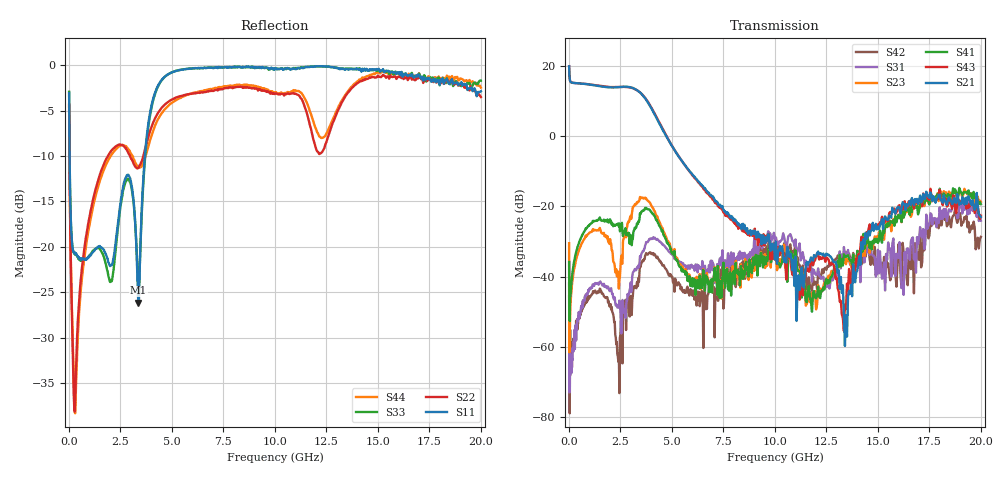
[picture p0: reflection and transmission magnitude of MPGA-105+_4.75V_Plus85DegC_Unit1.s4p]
!Mini-Circuits Laboratory
!S-Parameters
!Model: MPGA-105+
!Run / Lot / Date Code: NA / BP384P001-05 / 1348
!Fixture: NA; TB-561+
!AUTO PORT EXTENSION DONE: PORT<1>=113.35ps; PORT<2>=112.76ps; PORT<3>=112.16ps; PORT<4>=112.11ps
!Network Analyzer: PNA-X N5242A - 423 4 ports;  Serial number: 71256
!Date: 2/15/2014
!S/N: Unit# 1
!Correction: S11(Full 4 Port(1,2,3,4))
!S12(Full 4 Port(1,2,3,4))
!S13(Full 4 Port(1,2,3,4))
!S14(Full 4 Port(1,2,3,4))
!S21(Full 4 Port(1,2,3,4))
!S22(Full 4 Port(1,2,3,4))
!S23(Full 4 Port(1,2,3,4))
!S24(Full 4 Port(1,2,3,4))
!S31(Full 4 Port(1,2,3,4))
!S32(Full 4 Port(1,2,3,4))
!S33(Full 4 Port(1,2,3,4))
!S34(Full 4 Port(1,2,3,4))
!S41(Full 4 Port(1,2,3,4))
!S42(Full 4 Port(1,2,3,4))
!S43(Full 4 Port(1,2,3,4))
!S44(Full 4 Port(1,2,3,4))
!S4P File: Measurements: <S11,S12,S13,S14>,
!<S21,S22,S23,S24>,
!<S31,S32,S33,S34>,
!<S41,S42,S43,S44>:
# Hz S  dB  R 50
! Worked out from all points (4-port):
!   660 points, 10 MHz to 20 GHz, reference 50 ohm
!   strongest paths, dB at 10 MHz, 2.65 GHz, 6.775 GHz, 11.8 GHz, 20 GHz:
!     S21: 19.8, 14.0, -16.2, -35.0, -23.0
!     S43: 19.9, 14.0, -16.5, -35.8, -22.6
!     S41: -35.8, -27.6, -41.1, -49.9, -19.3
!     S23: -30.5, -29.4, -41.1, -47.3, -18.7
!     S31: -45.5, -50.1, -38.1, -41.4, -24.0
!     S42: -41.9, -50.4, -44.7, -44.0, -28.7
!   lowest |S11| = -26.2 dB at 3.375 GHz (marker M1), VSWR 1.10, Z = 45.3 + j0.473 ohm
!   |S11| at or under -10 dB: 33.17 MHz to 3.688 GHz (3.654 GHz wide, 196 % of centre)
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1e7  -3.07 -37.4  -22.82 43.9  -38.80 -102.4  -47.50 -116.6
     19.83 159.9  -4.45 -40.8  -30.45 -92.9  -38.80 -105.4
     -45.53 -68.7  -53.73 -50.5  -2.94 -38.0  -23.07 47.2
     -35.82 -53.1  -41.90 -41.5  19.88 160.9  -4.29 -42.1
1.3e9  -20.24 138.1  -20.36 -51.3  -42.92 83.3  -64.18 134.3
       14.39 93.6  -13.65 73.8  -26.74 -37.1  -43.64 72.1
       -41.90 61.5  -61.69 122.0  -20.21 141.1  -20.33 -52.5
       -24.09 -33.1  -44.22 52.1  14.45 93.0  -14.35 73.0
2.275e9  -19.40 -73.3  -23.18 -100.7  -42.97 69.7  -57.60 73.3
         13.85 32.4  -8.95 28.3  -38.28 -95.1  -44.82 36.4
         -48.20 29.5  -59.35 111.0  -20.25 -79.0  -23.13 -102.1
         -25.27 -106.8  -57.23 -21.9  13.92 30.0  -9.28 22.7
3.375e9  -26.17 173.9  -22.27 -29.7  -41.70 -139.1  -51.96 -124.3
         12.78 -62.8  -11.30 -105.4  -18.54 -123.4  -35.72 -160.5
         -36.74 172.1  -58.72 -158.5  -24.71 168.8  -22.91 -33.3
         -24.18 -138.0  -40.29 -172.8  12.77 -65.0  -11.24 -99.4
4e9  -4.55 -175.7  -19.88 -99.6  -29.06 121.2  -43.25 122.8
     7.93 -122.7  -6.88 159.2  -19.76 132.8  -31.89 112.9
     -29.27 114.4  -45.48 119.0  -4.80 179.5  -19.90 -103.3
     -21.62 129.3  -33.53 118.1  8.15 -125.9  -7.82 157.7
5.175e9  -0.66 123.2  -25.72 -161.5  -34.68 35.7  -48.59 45.6
         -4.45 179.0  -3.60 107.9  -34.43 37.5  -40.72 54.1
         -34.81 36.1  -49.19 47.6  -0.64 116.5  -25.69 -169.1
         -34.99 33.3  -40.71 64.7  -4.38 172.3  -3.86 96.9
2e10  -2.88 80.6  -23.09 50.6  -24.00 143.2  -19.20 4.4
      -22.98 50.1  -3.51 72.8  -18.73 -1.1  -28.82 -161.0
      -24.04 142.3  -18.64 -1.0  -1.70 49.0  -22.62 68.8
      -19.30 4.3  -28.65 -163.4  -22.61 69.9  -2.48 56.7
